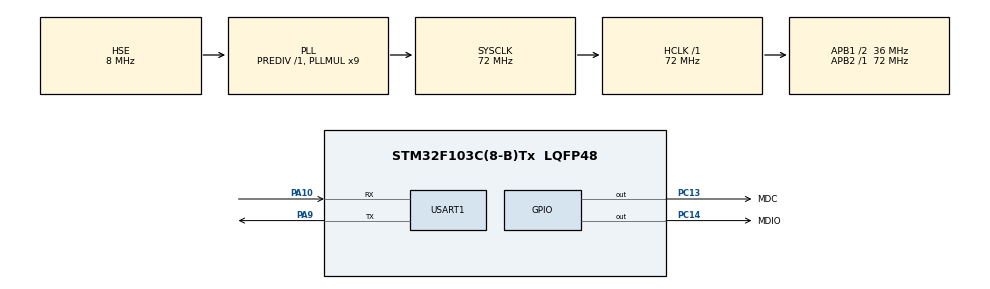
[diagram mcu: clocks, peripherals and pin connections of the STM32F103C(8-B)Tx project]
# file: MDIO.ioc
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Dma.Request0=USART1_RX
Dma.USART1_RX.0.Direction=DMA_PERIPH_TO_MEMORY
Dma.USART1_RX.0.Instance=DMA1_Channel5
Dma.USART1_RX.0.MemDataAlignment=DMA_MDATAALIGN_BYTE
Dma.USART1_RX.0.MemInc=DMA_MINC_ENABLE
Dma.USART1_RX.0.Mode=DMA_NORMAL
Dma.USART1_RX.0.PeriphDataAlignment=DMA_PDATAALIGN_BYTE
Dma.USART1_RX.0.PeriphInc=DMA_PINC_DISABLE
Dma.USART1_RX.0.Priority=DMA_PRIORITY_LOW
Mcu.Family=STM32F1
Mcu.Name=STM32F103C(8-B)Tx
Mcu.Package=LQFP48
NVIC.DMA1_Channel5_IRQn=true\:0\:0\:false\:false\:true
NVIC.PriorityGroup=NVIC_PRIORITYGROUP_4
NVIC.USART1_IRQn=true\:1\:0\:true\:false\:true
PA10.Mode=Asynchronous
PA10.Signal=USART1_RX
PA13.Mode=Serial_Wire
PA13.Signal=SYS_JTMS-SWDIO
PA14.Mode=Serial_Wire
PA14.Signal=SYS_JTCK-SWCLK
PA9.Mode=Asynchronous
PA9.Signal=USART1_TX
PC13-TAMPER-RTC.GPIO_Label=MDC
PC13-TAMPER-RTC.Signal=GPIO_Output
PC14-OSC32_IN.GPIO_Label=MDIO
PC14-OSC32_IN.Signal=GPIO_Output
PD0-OSC_IN.Mode=HSE-External-Oscillator
PD0-OSC_IN.Signal=RCC_OSC_IN
PD1-OSC_OUT.Mode=HSE-External-Oscillator
PD1-OSC_OUT.Signal=RCC_OSC_OUT
ProjectManager.HeapSize=0x200
ProjectManager.StackSize=0x400
ProjectManager.TargetToolchain=MDK-ARM V5
RCC.AHBFreq_Value=72000000
RCC.APB1CLKDivider=RCC_HCLK_DIV2
RCC.APB1Freq_Value=36000000
RCC.APB1TimFreq_Value=72000000
RCC.APB2Freq_Value=72000000
RCC.APB2TimFreq_Value=72000000
RCC.HCLKFreq_Value=72000000
RCC.HSIState=RCC_HSI_ON
RCC.PLLMUL=RCC_PLL_MUL9
RCC.PLLSourceVirtual=RCC_PLLSOURCE_HSE
RCC.SYSCLKFreq_VALUE=72000000
RCC.SYSCLKSource=RCC_SYSCLKSOURCE_PLLCLK
RCC.USBFreq_Value=72000000
board=MDIO

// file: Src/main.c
/**
  ******************************************************************************
  * File Name          : main.c
  * Description        : Main program body
  ******************************************************************************
  *
  * COPYRIGHT(c) 2020 STMicroelectronics
  *
  * Redistribution and use in source and binary forms, with or without modification,
  * are permitted provided that the following conditions are met:
  *   1. Redistributions of source code must retain the above copyright notice,
  *      this list of conditions and the following disclaimer.
  *   2. Redistributions in binary form must reproduce the above copyright notice,
  *      this list of conditions and the following disclaimer in the documentation
  *      and/or other materials provided with the distribution.
  *   3. Neither the name of STMicroelectronics nor the names of its contributors
  *      may be used to endorse or promote products derived from this software
  *      without specific prior written permission.
  *
  * THIS SOFTWARE IS PROVIDED BY THE COPYRIGHT HOLDERS AND CONTRIBUTORS "AS IS"
  * AND ANY EXPRESS OR IMPLIED WARRANTIES, INCLUDING, BUT NOT LIMITED TO, THE
  * IMPLIED WARRANTIES OF MERCHANTABILITY AND FITNESS FOR A PARTICULAR PURPOSE ARE
  * DISCLAIMED. IN NO EVENT SHALL THE COPYRIGHT HOLDER OR CONTRIBUTORS BE LIABLE
  * FOR ANY DIRECT, INDIRECT, INCIDENTAL, SPECIAL, EXEMPLARY, OR CONSEQUENTIAL
  * DAMAGES (INCLUDING, BUT NOT LIMITED TO, PROCUREMENT OF SUBSTITUTE GOODS OR
  * SERVICES; LOSS OF USE, DATA, OR PROFITS; OR BUSINESS INTERRUPTION) HOWEVER
  * CAUSED AND ON ANY THEORY OF LIABILITY, WHETHER IN CONTRACT, STRICT LIABILITY,
  * OR TORT (INCLUDING NEGLIGENCE OR OTHERWISE) ARISING IN ANY WAY OUT OF THE USE
  * OF THIS SOFTWARE, EVEN IF ADVISED OF THE POSSIBILITY OF SUCH DAMAGE.
  *
  ******************************************************************************
  */
#include "stm32f1xx_hal.h"
#include "dma.h"
#include "usart.h"
#include "gpio.h"

/* USER CODE BEGIN Includes */
#include "mdio.h"
/* USER CODE END Includes */

/* USER CODE BEGIN PV */
/* Private variables ---------------------------------------------------------*/

/* USER CODE END PV */

void SystemClock_Config(void);
void Error_Handler(void);

/* USER CODE BEGIN PFP */
/* Private function prototypes -----------------------------------------------*/

/* USER CODE END PFP */

/* USER CODE BEGIN 0 */
void show(void);
/* USER CODE END 0 */

int main(void)
{

  /* MCU Configuration----------------------------------------------------------*/

  /* Reset of all peripherals, Initializes the Flash interface and the Systick. */
  HAL_Init();

  /* Configure the system clock */
  SystemClock_Config();

  /* Initialize all configured peripherals */
  MX_GPIO_Init();
  MX_DMA_Init();
  MX_USART1_UART_Init();

  /* USER CODE BEGIN 2 */

	/* 开始串口空闲中断DMA接收 */
	uart1_start_receive_it();

	show();
  /* USER CODE END 2 */

  /* Infinite loop */
  while (1)
  {

  /* USER CODE BEGIN 3 */
//		uint16_t value = 0;
		for(int i = 0; i < 1; i++)
		{
//			value = read_data(31);
//			printf("value = 0x%04x\r\n", value);
//			HAL_Delay(1000);
//
//			write_data(31, 3);
			HAL_Delay(1000);

//			char c = getchar();
//			printf("char = %c\n", c);
		}
		//read_data();

  }
  /* USER CODE END 3 */

}

/** System Clock Configuration
*/
void SystemClock_Config(void)
{

  RCC_OscInitTypeDef RCC_OscInitStruct;
  RCC_ClkInitTypeDef RCC_ClkInitStruct;

  RCC_OscInitStruct.OscillatorType = RCC_OSCILLATORTYPE_HSE;
  RCC_OscInitStruct.HSEState = RCC_HSE_ON;
  RCC_OscInitStruct.HSEPredivValue = RCC_HSE_PREDIV_DIV1;
  RCC_OscInitStruct.PLL.PLLState = RCC_PLL_ON;
  RCC_OscInitStruct.PLL.PLLSource = RCC_PLLSOURCE_HSE;
  RCC_OscInitStruct.PLL.PLLMUL = RCC_PLL_MUL9;
  if (HAL_RCC_OscConfig(&RCC_OscInitStruct) != HAL_OK)
  {
    Error_Handler();
  }

  RCC_ClkInitStruct.ClockType = RCC_CLOCKTYPE_HCLK|RCC_CLOCKTYPE_SYSCLK
                              |RCC_CLOCKTYPE_PCLK1|RCC_CLOCKTYPE_PCLK2;
  RCC_ClkInitStruct.SYSCLKSource = RCC_SYSCLKSOURCE_PLLCLK;
  RCC_ClkInitStruct.AHBCLKDivider = RCC_SYSCLK_DIV1;
  RCC_ClkInitStruct.APB1CLKDivider = RCC_HCLK_DIV2;
  RCC_ClkInitStruct.APB2CLKDivider = RCC_HCLK_DIV1;
  if (HAL_RCC_ClockConfig(&RCC_ClkInitStruct, FLASH_LATENCY_2) != HAL_OK)
  {
    Error_Handler();
  }

  HAL_SYSTICK_Config(HAL_RCC_GetHCLKFreq()/1000);

  HAL_SYSTICK_CLKSourceConfig(SYSTICK_CLKSOURCE_HCLK);

  /* SysTick_IRQn interrupt configuration */
  HAL_NVIC_SetPriority(SysTick_IRQn, 0, 0);
}

/* USER CODE BEGIN 4 */
int fputc(int ch, FILE *f)
{
  while(HAL_UART_GetState(&huart1) == HAL_UART_STATE_BUSY_TX){}
  HAL_UART_Transmit(&huart1, (uint8_t *)&ch, 1, 100);
  return ch;
}
int fgetc(FILE * f)
{
  uint8_t ch = 0;
  HAL_UART_Receive(&huart1,&ch, 1, 0xffff);
  return ch;
}

void show(void)
{
	printf("\r\nMDIO for RTL8367RB\r\n\r\n");

	help();
}

/* USER CODE END 4 */

void Error_Handler(void)
{
  while(1)
  {
  }
}

/************************ (C) COPYRIGHT STMicroelectronics *****END OF FILE****/
